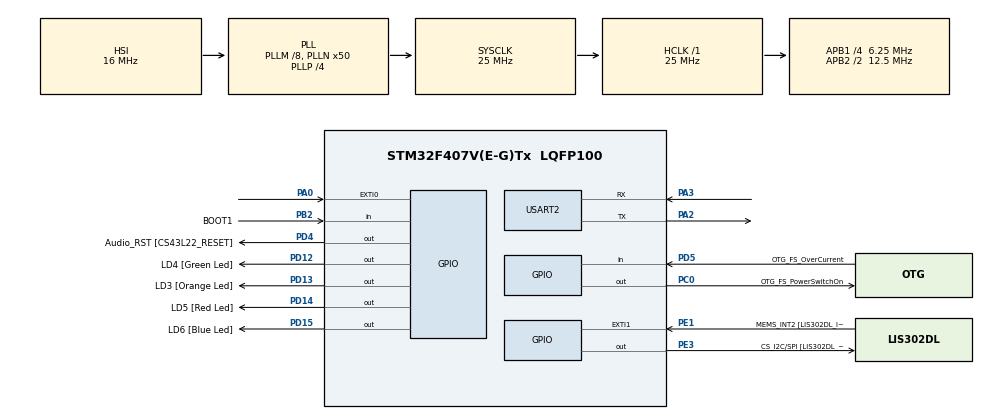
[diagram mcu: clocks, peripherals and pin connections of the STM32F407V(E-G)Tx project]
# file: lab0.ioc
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Mcu.Family=STM32F4
Mcu.Name=STM32F407V(E-G)Tx
Mcu.Package=LQFP100
NVIC.EXTI0_IRQn=true\:0\:0\:false\:false\:true\:true\:true\:true
NVIC.PriorityGroup=NVIC_PRIORITYGROUP_4
NVIC.TIM7_IRQn=true\:0\:0\:false\:false\:true\:false\:true\:true
NVIC.TimeBase=TIM7_IRQn
NVIC.TimeBaseIP=TIM7
PA0-WKUP.Signal=GPXTI0
PA10.GPIO_Label=OTG_FS_ID
PA10.GPIO_Mode=GPIO_MODE_AF_PP
PA10.GPIO_PuPd=GPIO_NOPULL
PA10.GPIO_Speed=GPIO_SPEED_FREQ_LOW
PA10.Signal=USB_OTG_FS_ID
PA11.GPIO_Label=OTG_FS_DM
PA11.GPIO_Mode=GPIO_MODE_AF_PP
PA11.GPIO_PuPd=GPIO_NOPULL
PA11.GPIO_Speed=GPIO_SPEED_FREQ_LOW
PA11.Signal=USB_OTG_FS_DM
PA12.GPIO_Label=OTG_FS_DP
PA12.GPIO_Mode=GPIO_MODE_AF_PP
PA12.GPIO_PuPd=GPIO_NOPULL
PA12.GPIO_Speed=GPIO_SPEED_FREQ_LOW
PA12.Signal=USB_OTG_FS_DP
PA13.GPIO_Label=SWDIO
PA13.Mode=Serial_Wire
PA13.Signal=SYS_JTMS-SWDIO
PA14.GPIO_Label=SWCLK
PA14.Mode=Serial_Wire
PA14.Signal=SYS_JTCK-SWCLK
PA2.Mode=Asynchronous
PA2.Signal=USART2_TX
PA3.Mode=Asynchronous
PA3.Signal=USART2_RX
PA4.GPIO_Label=I2S3_WS [CS43L22_LRCK]
PA4.GPIO_Mode=GPIO_MODE_AF_PP
PA4.GPIO_PuPd=GPIO_NOPULL
PA4.GPIO_Speed=GPIO_SPEED_FREQ_LOW
PA4.Signal=I2S3_WS
PA5.GPIO_Label=SPI1_SCK [LIS302DL_SCL/SPC]
PA5.GPIO_Mode=GPIO_MODE_AF_PP
PA5.GPIO_PuPd=GPIO_NOPULL
PA5.GPIO_Speed=GPIO_SPEED_FREQ_LOW
PA5.Signal=SPI1_SCK
PA6.GPIO_Label=SPI1_MISO [LIS302DL_SDO]
PA6.GPIO_Mode=GPIO_MODE_AF_PP
PA6.GPIO_PuPd=GPIO_NOPULL
PA6.GPIO_Speed=GPIO_SPEED_FREQ_LOW
PA6.Signal=SPI1_MISO
PA7.GPIO_Label=SPI1_MOSI [LIS302DL_SDA/SDI/SDO]
PA7.GPIO_Mode=GPIO_MODE_AF_PP
PA7.GPIO_PuPd=GPIO_NOPULL
PA7.GPIO_Speed=GPIO_SPEED_FREQ_LOW
PA7.Signal=SPI1_MOSI
PA9.GPIO_Label=VBUS_FS
PA9.GPIO_Mode=GPIO_MODE_INPUT
PA9.GPIO_PuPd=GPIO_NOPULL
PA9.Signal=USB_OTG_FS_VBUS
PB10.GPIO_Label=CLK_IN [MP45DT02_CLK]
PB10.GPIO_Mode=GPIO_MODE_AF_PP
PB10.GPIO_PuPd=GPIO_NOPULL
PB10.GPIO_Speed=GPIO_SPEED_FREQ_LOW
PB10.Signal=I2S2_CK
PB2.GPIO_Label=BOOT1
PB2.GPIO_Mode=GPIO_MODE_INPUT
PB2.GPIO_PuPd=GPIO_NOPULL
PB2.Signal=GPIO_Input
PB3.GPIO_Label=SWO
PB3.Signal=SYS_JTDO-SWO
PB6.GPIO_Label=Audio_SCL [CS43L22_SCL]
PB6.GPIO_Mode=GPIO_MODE_AF_OD
PB6.GPIO_PuPd=GPIO_NOPULL
PB6.GPIO_Speed=GPIO_SPEED_FREQ_LOW
PB6.Signal=I2C1_SCL
PB9.GPIO_Label=Audio_SDA [CS43L22_SDA]
PB9.GPIO_Mode=GPIO_MODE_AF_OD
PB9.GPIO_PuPd=GPIO_NOPULL
PB9.GPIO_Speed=GPIO_SPEED_FREQ_LOW
PB9.Signal=I2C1_SDA
PC0.GPIO_Label=OTG_FS_PowerSwitchOn
PC0.GPIO_PuPd=GPIO_NOPULL
PC0.GPIO_Speed=GPIO_SPEED_FREQ_LOW
PC0.PinState=GPIO_PIN_SET
PC0.Signal=GPIO_Output
PC10.GPIO_Label=I2S3_SCK [CS43L22_SCLK]
PC10.GPIO_Mode=GPIO_MODE_AF_PP
PC10.GPIO_PuPd=GPIO_NOPULL
PC10.GPIO_Speed=GPIO_SPEED_FREQ_LOW
PC10.Signal=I2S3_CK
PC12.GPIO_Label=I2S3_SD [CS43L22_SDIN]
PC12.GPIO_Mode=GPIO_MODE_AF_PP
PC12.GPIO_PuPd=GPIO_NOPULL
PC12.GPIO_Speed=GPIO_SPEED_FREQ_LOW
PC12.Signal=I2S3_SD
PC14-OSC32_IN.GPIO_Label=PC14-OSC32_IN
PC14-OSC32_IN.Signal=RCC_OSC32_IN
PC15-OSC32_OUT.GPIO_Label=PC15-OSC32_OUT
PC15-OSC32_OUT.Signal=RCC_OSC32_OUT
PC3.GPIO_Label=PDM_OUT [MP45DT02_DOUT]
PC3.GPIO_Mode=GPIO_MODE_AF_PP
PC3.GPIO_PuPd=GPIO_NOPULL
PC3.GPIO_Speed=GPIO_SPEED_FREQ_LOW
PC3.Signal=I2S2_SD
PC7.GPIO_Label=I2S3_MCK [CS43L22_MCLK]
PC7.GPIO_Mode=GPIO_MODE_AF_PP
PC7.GPIO_PuPd=GPIO_NOPULL
PC7.GPIO_Speed=GPIO_SPEED_FREQ_LOW
PC7.Signal=I2S3_MCK
PD12.GPIO_Label=LD4 [Green Led]
PD12.GPIO_PuPd=GPIO_NOPULL
PD12.GPIO_Speed=GPIO_SPEED_FREQ_LOW
PD12.Signal=GPIO_Output
PD13.GPIO_Label=LD3 [Orange Led]
PD13.GPIO_PuPd=GPIO_NOPULL
PD13.GPIO_Speed=GPIO_SPEED_FREQ_LOW
PD13.Signal=GPIO_Output
PD14.GPIO_Label=LD5 [Red Led]
PD14.GPIO_PuPd=GPIO_NOPULL
PD14.GPIO_Speed=GPIO_SPEED_FREQ_LOW
PD14.Signal=GPIO_Output
PD15.GPIO_Label=LD6 [Blue Led]
PD15.GPIO_PuPd=GPIO_NOPULL
PD15.GPIO_Speed=GPIO_SPEED_FREQ_LOW
PD15.Signal=GPIO_Output
PD4.GPIO_Label=Audio_RST [CS43L22_RESET]
PD4.GPIO_PuPd=GPIO_NOPULL
PD4.GPIO_Speed=GPIO_SPEED_FREQ_LOW
PD4.Signal=GPIO_Output
PD5.GPIO_Label=OTG_FS_OverCurrent
PD5.GPIO_Mode=GPIO_MODE_INPUT
PD5.GPIO_PuPd=GPIO_NOPULL
PD5.Signal=GPIO_Input
PE1.GPIO_Label=MEMS_INT2 [LIS302DL_INT2]
PE1.GPIO_ModeDefaultEXTI=GPIO_MODE_EVT_RISING
PE1.GPIO_PuPd=GPIO_NOPULL
PE1.Signal=GPXTI1
PE3.GPIO_Label=CS_I2C/SPI [LIS302DL_CS_I2C/SPI]
PE3.GPIO_PuPd=GPIO_NOPULL
PE3.GPIO_Speed=GPIO_SPEED_FREQ_LOW
PE3.Signal=GPIO_Output
PH0-OSC_IN.GPIO_Label=PH0-OSC_IN
PH0-OSC_IN.Signal=RCC_OSC_IN
PH1-OSC_OUT.GPIO_Label=PH1-OSC_OUT
PH1-OSC_OUT.Signal=RCC_OSC_OUT
ProjectManager.HeapSize=0x200
ProjectManager.StackSize=0x400
ProjectManager.TargetToolchain=STM32CubeIDE
RCC.48MHZClocksFreq_Value=14285714.285714285
RCC.AHBFreq_Value=25000000
RCC.APB1CLKDivider=RCC_HCLK_DIV4
RCC.APB1Freq_Value=6250000
RCC.APB1TimFreq_Value=12500000
RCC.APB2CLKDivider=RCC_HCLK_DIV2
RCC.APB2Freq_Value=12500000
RCC.APB2TimFreq_Value=25000000
RCC.CortexFreq_Value=25000000
RCC.HCLKFreq_Value=25000000
RCC.HSE_VALUE=8000000
RCC.HSI_VALUE=16000000
RCC.LSE_VALUE=32768
RCC.PLLM=8
RCC.PLLN=50
RCC.PLLP=RCC_PLLP_DIV4
RCC.PLLQ=7
RCC.SYSCLKFreq_VALUE=25000000
RCC.SYSCLKSource=RCC_SYSCLKSOURCE_PLLCLK
RCC.VCOOutputFreq_Value=100000000
USART2.VirtualMode=VM_ASYNC
VP_SYS_VS_tim7.Mode=TIM7
board=STM32F407G-DISC1

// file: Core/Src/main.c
/* USER CODE BEGIN Header */
/**
  ******************************************************************************
  * @file           : main.c
  * @brief          : Main program body
  ******************************************************************************
  * @attention
  *
  * Copyright (c) 2022 STMicroelectronics.
  * All rights reserved.
  *
  * This software is licensed under terms that can be found in the LICENSE file
  * in the root directory of this software component.
  * If no LICENSE file comes with this software, it is provided AS-IS.
  *
  ******************************************************************************
  */
/* USER CODE END Header */
#include "main.h"

/* USER CODE BEGIN Includes */
#include"FreeRTOS.h"
#include"task.h"
#include"queue.h"

/* USER CODE END Includes */

/* USER CODE BEGIN PD */
#define RED 1
#define GREEN 2
/* USER CODE END PD */

UART_HandleTypeDef huart2;

void SystemClock_Config(void);
static void MX_GPIO_Init(void);
static void MX_USART2_UART_Init(void);

/* USER CODE BEGIN 0 */
BaseType_t xReturned;
TaskHandle_t xS1Handle=NULL;
TaskHandle_t xS2Handle=NULL;
TaskHandle_t xS3Handle=NULL;
TaskHandle_t xS4Handle=NULL;
// global variable to do Inter-Task-Communication
volatile BaseType_t currentTask = 0;
// mutex to prevent critical section error
// T1
void TaskMonitor_App(void *pvParameters) {
	for(;;) {
		Taskmonitor();
		vTaskDelay(1000);
	}
}

void Red_LED_app(void *pvParameters) {
	uint32_t Redtimer = 800;
	for(;;) {
		HAL_GPIO_TogglePin(GPIOD, GPIO_PIN_12);
		vTaskDelay(Redtimer);
		Redtimer += 1;

	}
}
void Green_LED_App(void *pvParameters) {
	uint32_t Greentimer = 1000;
	for(;;) {
		HAL_GPIO_TogglePin(GPIOD, GPIO_PIN_14);
		vTaskDelay(Greentimer);
		Greentimer += 2;
	}
}
void Delay_App(void *pvParameters) {
	int delayflag = 0;
	uint32_t delaytime;
	for(;;) {
		if (delayflag == 0) {
			delaytime = 1000;
			delayflag = 1;
		} else {
			delaytime = 0xFFFFFFFF;
		}
		vTaskDelay(delaytime);
	}
}
/* USER CODE END 0 */

int main(void)
{

  /* MCU Configuration--------------------------------------------------------*/

  /* Reset of all peripherals, Initializes the Flash interface and the Systick. */
  HAL_Init();

  /* Configure the system clock */
  SystemClock_Config();

  /* USER CODE BEGIN SysInit */
  HAL_GPIO_WritePin(GPIOD, GPIO_PIN_13, GPIO_PIN_RESET);
  /* USER CODE END SysInit */

  /* Initialize all configured peripherals */
  MX_GPIO_Init();
  MX_USART2_UART_Init();
  /* USER CODE BEGIN 2 */
  taskENTER_CRITICAL();

  xTaskCreate(
		  TaskMonitor_App,
		  "TaskMonitor_App",
		  256,
		  NULL,
		  3,
		  &xS1Handle);
  xTaskCreate(
		  Red_LED_app,
		  "Red_LED_app",
		  128,
		  NULL,
		  1,
		  &xS2Handle);
  xTaskCreate(
		  Green_LED_App,
		  "Green_LED_App",
		  128,
		  NULL,
		  1,
		  &xS3Handle);
  xTaskCreate(
		  Delay_App,
		  "Delay_App",
		  128,
		  NULL,
		  14,
		  &xS4Handle);
  taskEXIT_CRITICAL();

//  vPortSetInterruptHandler();
  vTaskStartScheduler();
  /* USER CODE END 2 */

  /* Infinite loop */
  while (1)
  {

  }
}

void SystemClock_Config(void)
{
  RCC_OscInitTypeDef RCC_OscInitStruct = {0};
  RCC_ClkInitTypeDef RCC_ClkInitStruct = {0};

  /** Configure the main internal regulator output voltage
  */
  __HAL_RCC_PWR_CLK_ENABLE();
  __HAL_PWR_VOLTAGESCALING_CONFIG(PWR_REGULATOR_VOLTAGE_SCALE1);

  /** Initializes the RCC Oscillators according to the specified parameters
  * in the RCC_OscInitTypeDef structure.
  */
  RCC_OscInitStruct.OscillatorType = RCC_OSCILLATORTYPE_HSI;
  RCC_OscInitStruct.HSIState = RCC_HSI_ON;
  RCC_OscInitStruct.HSICalibrationValue = RCC_HSICALIBRATION_DEFAULT;
  RCC_OscInitStruct.PLL.PLLState = RCC_PLL_ON;
  RCC_OscInitStruct.PLL.PLLSource = RCC_PLLSOURCE_HSI;
  RCC_OscInitStruct.PLL.PLLM = 8;
  RCC_OscInitStruct.PLL.PLLN = 50;
  RCC_OscInitStruct.PLL.PLLP = RCC_PLLP_DIV4;
  RCC_OscInitStruct.PLL.PLLQ = 7;
  if (HAL_RCC_OscConfig(&RCC_OscInitStruct) != HAL_OK)
  {
    Error_Handler();
  }

  /** Initializes the CPU, AHB and APB buses clocks
  */
  RCC_ClkInitStruct.ClockType = RCC_CLOCKTYPE_HCLK|RCC_CLOCKTYPE_SYSCLK
                              |RCC_CLOCKTYPE_PCLK1|RCC_CLOCKTYPE_PCLK2;
  RCC_ClkInitStruct.SYSCLKSource = RCC_SYSCLKSOURCE_PLLCLK;
  RCC_ClkInitStruct.AHBCLKDivider = RCC_SYSCLK_DIV1;
  RCC_ClkInitStruct.APB1CLKDivider = RCC_HCLK_DIV4;
  RCC_ClkInitStruct.APB2CLKDivider = RCC_HCLK_DIV2;

  if (HAL_RCC_ClockConfig(&RCC_ClkInitStruct, FLASH_LATENCY_0) != HAL_OK)
  {
    Error_Handler();
  }
}

static void MX_USART2_UART_Init(void)
{

  huart2.Instance = USART2;
  huart2.Init.BaudRate = 115200;
  huart2.Init.WordLength = UART_WORDLENGTH_8B;
  huart2.Init.StopBits = UART_STOPBITS_1;
  huart2.Init.Parity = UART_PARITY_NONE;
  huart2.Init.Mode = UART_MODE_TX_RX;
  huart2.Init.HwFlowCtl = UART_HWCONTROL_NONE;
  huart2.Init.OverSampling = UART_OVERSAMPLING_16;
  if (HAL_UART_Init(&huart2) != HAL_OK)
  {
    Error_Handler();
  }

}

static void MX_GPIO_Init(void)
{
  GPIO_InitTypeDef GPIO_InitStruct = {0};

  /* GPIO Ports Clock Enable */
  __HAL_RCC_GPIOE_CLK_ENABLE();
  __HAL_RCC_GPIOC_CLK_ENABLE();
  __HAL_RCC_GPIOH_CLK_ENABLE();
  __HAL_RCC_GPIOA_CLK_ENABLE();
  __HAL_RCC_GPIOB_CLK_ENABLE();
  __HAL_RCC_GPIOD_CLK_ENABLE();

  /*Configure GPIO pin Output Level */
  HAL_GPIO_WritePin(CS_I2C_SPI_GPIO_Port, CS_I2C_SPI_Pin, GPIO_PIN_RESET);

  /*Configure GPIO pin Output Level */
  HAL_GPIO_WritePin(OTG_FS_PowerSwitchOn_GPIO_Port, OTG_FS_PowerSwitchOn_Pin, GPIO_PIN_SET);

  /*Configure GPIO pin Output Level */
  HAL_GPIO_WritePin(GPIOD, LD4_Pin|LD3_Pin|LD5_Pin|LD6_Pin
                          |Audio_RST_Pin, GPIO_PIN_RESET);

  /*Configure GPIO pin : CS_I2C_SPI_Pin */
  GPIO_InitStruct.Pin = CS_I2C_SPI_Pin;
  GPIO_InitStruct.Mode = GPIO_MODE_OUTPUT_PP;
  GPIO_InitStruct.Pull = GPIO_NOPULL;
  GPIO_InitStruct.Speed = GPIO_SPEED_FREQ_LOW;
  HAL_GPIO_Init(CS_I2C_SPI_GPIO_Port, &GPIO_InitStruct);

  /*Configure GPIO pin : OTG_FS_PowerSwitchOn_Pin */
  GPIO_InitStruct.Pin = OTG_FS_PowerSwitchOn_Pin;
  GPIO_InitStruct.Mode = GPIO_MODE_OUTPUT_PP;
  GPIO_InitStruct.Pull = GPIO_NOPULL;
  GPIO_InitStruct.Speed = GPIO_SPEED_FREQ_LOW;
  HAL_GPIO_Init(OTG_FS_PowerSwitchOn_GPIO_Port, &GPIO_InitStruct);

  /*Configure GPIO pin : PDM_OUT_Pin */
  GPIO_InitStruct.Pin = PDM_OUT_Pin;
  GPIO_InitStruct.Mode = GPIO_MODE_AF_PP;
  GPIO_InitStruct.Pull = GPIO_NOPULL;
  GPIO_InitStruct.Speed = GPIO_SPEED_FREQ_LOW;
  GPIO_InitStruct.Alternate = GPIO_AF5_SPI2;
  HAL_GPIO_Init(PDM_OUT_GPIO_Port, &GPIO_InitStruct);

  /*Configure GPIO pin : PA0 */
  GPIO_InitStruct.Pin = GPIO_PIN_0;
  GPIO_InitStruct.Mode = GPIO_MODE_IT_RISING;
  GPIO_InitStruct.Pull = GPIO_NOPULL;
  HAL_GPIO_Init(GPIOA, &GPIO_InitStruct);

  /*Configure GPIO pin : I2S3_WS_Pin */
  GPIO_InitStruct.Pin = I2S3_WS_Pin;
  GPIO_InitStruct.Mode = GPIO_MODE_AF_PP;
  GPIO_InitStruct.Pull = GPIO_NOPULL;
  GPIO_InitStruct.Speed = GPIO_SPEED_FREQ_LOW;
  GPIO_InitStruct.Alternate = GPIO_AF6_SPI3;
  HAL_GPIO_Init(I2S3_WS_GPIO_Port, &GPIO_InitStruct);

  /*Configure GPIO pins : SPI1_SCK_Pin SPI1_MISO_Pin SPI1_MOSI_Pin */
  GPIO_InitStruct.Pin = SPI1_SCK_Pin|SPI1_MISO_Pin|SPI1_MOSI_Pin;
  GPIO_InitStruct.Mode = GPIO_MODE_AF_PP;
  GPIO_InitStruct.Pull = GPIO_NOPULL;
  GPIO_InitStruct.Speed = GPIO_SPEED_FREQ_LOW;
  GPIO_InitStruct.Alternate = GPIO_AF5_SPI1;
  HAL_GPIO_Init(GPIOA, &GPIO_InitStruct);

  /*Configure GPIO pin : BOOT1_Pin */
  GPIO_InitStruct.Pin = BOOT1_Pin;
  GPIO_InitStruct.Mode = GPIO_MODE_INPUT;
  GPIO_InitStruct.Pull = GPIO_NOPULL;
  HAL_GPIO_Init(BOOT1_GPIO_Port, &GPIO_InitStruct);

  /*Configure GPIO pin : CLK_IN_Pin */
  GPIO_InitStruct.Pin = CLK_IN_Pin;
  GPIO_InitStruct.Mode = GPIO_MODE_AF_PP;
  GPIO_InitStruct.Pull = GPIO_NOPULL;
  GPIO_InitStruct.Speed = GPIO_SPEED_FREQ_LOW;
  GPIO_InitStruct.Alternate = GPIO_AF5_SPI2;
  HAL_GPIO_Init(CLK_IN_GPIO_Port, &GPIO_InitStruct);

  /*Configure GPIO pins : LD4_Pin LD3_Pin LD5_Pin LD6_Pin
                           Audio_RST_Pin */
  GPIO_InitStruct.Pin = LD4_Pin|LD3_Pin|LD5_Pin|LD6_Pin
                          |Audio_RST_Pin;
  GPIO_InitStruct.Mode = GPIO_MODE_OUTPUT_PP;
  GPIO_InitStruct.Pull = GPIO_NOPULL;
  GPIO_InitStruct.Speed = GPIO_SPEED_FREQ_LOW;
  HAL_GPIO_Init(GPIOD, &GPIO_InitStruct);

  /*Configure GPIO pins : I2S3_MCK_Pin I2S3_SCK_Pin I2S3_SD_Pin */
  GPIO_InitStruct.Pin = I2S3_MCK_Pin|I2S3_SCK_Pin|I2S3_SD_Pin;
  GPIO_InitStruct.Mode = GPIO_MODE_AF_PP;
  GPIO_InitStruct.Pull = GPIO_NOPULL;
  GPIO_InitStruct.Speed = GPIO_SPEED_FREQ_LOW;
  GPIO_InitStruct.Alternate = GPIO_AF6_SPI3;
  HAL_GPIO_Init(GPIOC, &GPIO_InitStruct);

  /*Configure GPIO pin : VBUS_FS_Pin */
  GPIO_InitStruct.Pin = VBUS_FS_Pin;
  GPIO_InitStruct.Mode = GPIO_MODE_INPUT;
  GPIO_InitStruct.Pull = GPIO_NOPULL;
  HAL_GPIO_Init(VBUS_FS_GPIO_Port, &GPIO_InitStruct);

  /*Configure GPIO pins : OTG_FS_ID_Pin OTG_FS_DM_Pin OTG_FS_DP_Pin */
  GPIO_InitStruct.Pin = OTG_FS_ID_Pin|OTG_FS_DM_Pin|OTG_FS_DP_Pin;
  GPIO_InitStruct.Mode = GPIO_MODE_AF_PP;
  GPIO_InitStruct.Pull = GPIO_NOPULL;
  GPIO_InitStruct.Speed = GPIO_SPEED_FREQ_LOW;
  GPIO_InitStruct.Alternate = GPIO_AF10_OTG_FS;
  HAL_GPIO_Init(GPIOA, &GPIO_InitStruct);

  /*Configure GPIO pin : OTG_FS_OverCurrent_Pin */
  GPIO_InitStruct.Pin = OTG_FS_OverCurrent_Pin;
  GPIO_InitStruct.Mode = GPIO_MODE_INPUT;
  GPIO_InitStruct.Pull = GPIO_NOPULL;
  HAL_GPIO_Init(OTG_FS_OverCurrent_GPIO_Port, &GPIO_InitStruct);

  /*Configure GPIO pins : Audio_SCL_Pin Audio_SDA_Pin */
  GPIO_InitStruct.Pin = Audio_SCL_Pin|Audio_SDA_Pin;
  GPIO_InitStruct.Mode = GPIO_MODE_AF_OD;
  GPIO_InitStruct.Pull = GPIO_NOPULL;
  GPIO_InitStruct.Speed = GPIO_SPEED_FREQ_LOW;
  GPIO_InitStruct.Alternate = GPIO_AF4_I2C1;
  HAL_GPIO_Init(GPIOB, &GPIO_InitStruct);

  /*Configure GPIO pin : MEMS_INT2_Pin */
  GPIO_InitStruct.Pin = MEMS_INT2_Pin;
  GPIO_InitStruct.Mode = GPIO_MODE_EVT_RISING;
  GPIO_InitStruct.Pull = GPIO_NOPULL;
  HAL_GPIO_Init(MEMS_INT2_GPIO_Port, &GPIO_InitStruct);

  /* EXTI interrupt init*/
  HAL_NVIC_SetPriority(EXTI0_IRQn, 0, 0);
  HAL_NVIC_EnableIRQ(EXTI0_IRQn);

}

void HAL_TIM_PeriodElapsedCallback(TIM_HandleTypeDef *htim)
{
  if (htim->Instance == TIM7) {
    HAL_IncTick();
  }
}

void Error_Handler(void)
{
  __disable_irq();
  while (1)
  {
  }
}
